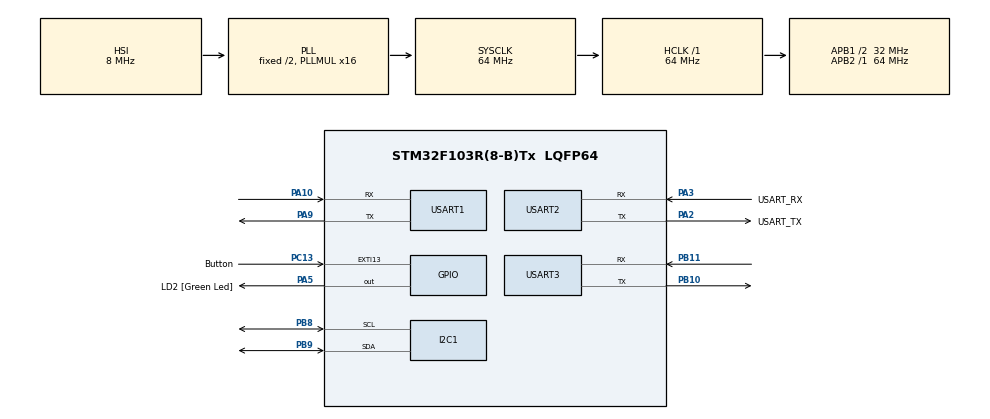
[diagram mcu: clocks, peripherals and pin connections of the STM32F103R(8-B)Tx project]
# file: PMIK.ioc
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Mcu.Family=STM32F1
Mcu.Name=STM32F103R(8-B)Tx
Mcu.Package=LQFP64
NVIC.EXTI15_10_IRQn=true\:0\:0\:false\:false\:true\:true\:true
NVIC.PriorityGroup=NVIC_PRIORITYGROUP_4
NVIC.TIM4_IRQn=true\:0\:0\:false\:false\:true\:true\:true
NVIC.USART1_IRQn=true\:0\:0\:false\:false\:true\:true\:true
NVIC.USART2_IRQn=true\:0\:0\:false\:false\:true\:true\:true
NVIC.USART3_IRQn=true\:0\:0\:false\:false\:true\:true\:true
PA10.Mode=Asynchronous
PA10.Signal=USART1_RX
PA13.GPIO_Label=TMS
PA13.Mode=Serial_Wire
PA13.Signal=SYS_JTMS-SWDIO
PA14.GPIO_Label=TCK
PA14.Mode=Serial_Wire
PA14.Signal=SYS_JTCK-SWCLK
PA2.GPIO_Label=USART_TX
PA2.GPIO_Mode=GPIO_MODE_AF_PP
PA2.GPIO_PuPd=GPIO_NOPULL
PA2.GPIO_Speed=GPIO_SPEED_FREQ_LOW
PA2.Mode=Asynchronous
PA2.Signal=USART2_TX
PA3.GPIO_Label=USART_RX
PA3.GPIO_Mode=GPIO_MODE_AF_PP
PA3.GPIO_PuPd=GPIO_NOPULL
PA3.GPIO_Speed=GPIO_SPEED_FREQ_LOW
PA3.Mode=Asynchronous
PA3.Signal=USART2_RX
PA5.GPIO_Label=LD2 [Green Led]
PA5.GPIO_ModeDefaultOutputPP=GPIO_MODE_OUTPUT_PP
PA5.GPIO_PuPd=GPIO_NOPULL
PA5.GPIO_Speed=GPIO_SPEED_FREQ_LOW
PA5.Signal=GPIO_Output
PA9.Mode=Asynchronous
PA9.Signal=USART1_TX
PB10.Mode=Asynchronous
PB10.Signal=USART3_TX
PB11.Mode=Asynchronous
PB11.Signal=USART3_RX
PB3.GPIO_Label=SWO
PB3.Signal=SYS_JTDO-TRACESWO
PB8.Mode=I2C
PB8.Signal=I2C1_SCL
PB9.Mode=I2C
PB9.Signal=I2C1_SDA
PC13-TAMPER-RTC.GPIO_Label=Button
PC13-TAMPER-RTC.GPIO_ModeDefaultEXTI=GPIO_MODE_IT_FALLING
PC13-TAMPER-RTC.Signal=GPXTI13
PC14-OSC32_IN.Mode=LSE-External-Oscillator
PC14-OSC32_IN.Signal=RCC_OSC32_IN
PC15-OSC32_OUT.Mode=LSE-External-Oscillator
PC15-OSC32_OUT.Signal=RCC_OSC32_OUT
PD0-OSC_IN.Mode=HSE-External-Clock-Source
PD0-OSC_IN.Signal=RCC_OSC_IN
PD1-OSC_OUT.Mode=HSE-External-Clock-Source
PD1-OSC_OUT.Signal=RCC_OSC_OUT
ProjectManager.HeapSize=0x200
ProjectManager.StackSize=0x400
ProjectManager.TargetToolchain=STM32CubeIDE
RCC.AHBFreq_Value=64000000
RCC.APB1CLKDivider=RCC_HCLK_DIV2
RCC.APB1Freq_Value=32000000
RCC.APB1TimFreq_Value=64000000
RCC.APB2Freq_Value=64000000
RCC.APB2TimFreq_Value=64000000
RCC.HCLKFreq_Value=64000000
RCC.PLLMUL=RCC_PLL_MUL16
RCC.RTCClockSelection=RCC_RTCCLKSOURCE_LSE
RCC.SYSCLKFreq_VALUE=64000000
RCC.SYSCLKSource=RCC_SYSCLKSOURCE_PLLCLK
RCC.USBFreq_Value=64000000
TIM4.AutoReloadPreload=TIM_AUTORELOAD_PRELOAD_ENABLE
TIM4.Period=9999 
TIM4.Prescaler=639 
USART1.VirtualMode=VM_ASYNC
USART2.VirtualMode=VM_ASYNC
USART3.VirtualMode=VM_ASYNC
VP_TIM4_VS_ClockSourceINT.Mode=Internal
board=NUCLEO-F103RB

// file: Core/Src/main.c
/* USER CODE BEGIN Header */
/**
  ******************************************************************************
  * @file           : main.c
  * @brief          : Main program body
  ******************************************************************************
  * @attention
  *
  * <h2><center>&copy; Copyright (c) 2020 STMicroelectronics.
  * All rights reserved.</center></h2>
  *
  * This software component is licensed by ST under BSD 3-Clause license,
  * the "License"; You may not use this file except in compliance with the
  * License. You may obtain a copy of the License at:
  *                        opensource.org/licenses/BSD-3-Clause
  *
  ******************************************************************************
  */
/* USER CODE END Header */
#include "main.h"
#include "i2c.h"
#include "tim.h"
#include "usart.h"
#include "gpio.h"

/* USER CODE BEGIN Includes */
#include "ESP8266_HAL.h"
#include "bmp280.h"
#include <string.h>
#include <stdio.h>
#include "lcd_i2c.h"
#include <stdbool.h>
#include "UartRingbuffer_multi.h"
/* USER CODE END Includes */

/* USER CODE BEGIN PV */
extern UART_HandleTypeDef huart3;
#define bmp_uart &huart3

float pressure, temperature, humidity;
bool is_LCD_avaliable = false;
uint16_t size;
uint8_t Data[256];
struct lcd_disp disp;
char output[5] = {'0','0','0','0','0'};
int i = 0;
int x = 0;
/* USER CODE END PV */

void SystemClock_Config(void);

int main(void)
{
  /* USER CODE BEGIN 1 */
	uint8_t buf[12];
  /* USER CODE END 1 */

  /* MCU Configuration--------------------------------------------------------*/

  /* Reset of all peripherals, Initializes the Flash interface and the Systick. */
  HAL_Init();

  /* Configure the system clock */
  SystemClock_Config();

  /* Initialize all configured peripherals */
  MX_GPIO_Init();
  MX_USART2_UART_Init();
  MX_USART1_UART_Init();
  MX_I2C1_Init();
  MX_TIM4_Init();
  MX_USART3_UART_Init();
  /* USER CODE BEGIN 2 */
  HAL_TIM_Base_Start_IT(&htim4);

  ESP_Init("HUAWEI-B315-4735","RE7EF6GRR7L");

    HAL_UART_Transmit(&huart2, Data, size, 1000);

      disp.addr = (0x27 << 1);
      disp.bl = true;
      lcd_init(&disp);
      lcd_prog(&disp);
      char* front = "  ";
      char* addr = getIP();
      char* txtlcd;
      txtlcd = malloc(strlen(front)+1+4);
      strcpy(txtlcd, front);
      strcat(txtlcd, addr);
      sprintf(disp.f_line, txtlcd);
      sprintf(disp.s_line, "Temp.:");
      lcd_display(&disp);

      is_LCD_avaliable = true;
  /* USER CODE END 2 */

  /* Infinite loop */
  while (1)
  {

    /* USER CODE BEGIN 3 */
	  Server_Start();

  }
  /* USER CODE END 3 */
}

void SystemClock_Config(void)
{
  RCC_OscInitTypeDef RCC_OscInitStruct = {0};
  RCC_ClkInitTypeDef RCC_ClkInitStruct = {0};

  /** Initializes the RCC Oscillators according to the specified parameters
  * in the RCC_OscInitTypeDef structure.
  */
  RCC_OscInitStruct.OscillatorType = RCC_OSCILLATORTYPE_HSI;
  RCC_OscInitStruct.HSIState = RCC_HSI_ON;
  RCC_OscInitStruct.HSICalibrationValue = RCC_HSICALIBRATION_DEFAULT;
  RCC_OscInitStruct.PLL.PLLState = RCC_PLL_ON;
  RCC_OscInitStruct.PLL.PLLSource = RCC_PLLSOURCE_HSI_DIV2;
  RCC_OscInitStruct.PLL.PLLMUL = RCC_PLL_MUL16;
  if (HAL_RCC_OscConfig(&RCC_OscInitStruct) != HAL_OK)
  {
    Error_Handler();
  }
  /** Initializes the CPU, AHB and APB buses clocks
  */
  RCC_ClkInitStruct.ClockType = RCC_CLOCKTYPE_HCLK|RCC_CLOCKTYPE_SYSCLK
                              |RCC_CLOCKTYPE_PCLK1|RCC_CLOCKTYPE_PCLK2;
  RCC_ClkInitStruct.SYSCLKSource = RCC_SYSCLKSOURCE_PLLCLK;
  RCC_ClkInitStruct.AHBCLKDivider = RCC_SYSCLK_DIV1;
  RCC_ClkInitStruct.APB1CLKDivider = RCC_HCLK_DIV2;
  RCC_ClkInitStruct.APB2CLKDivider = RCC_HCLK_DIV1;

  if (HAL_RCC_ClockConfig(&RCC_ClkInitStruct, FLASH_LATENCY_2) != HAL_OK)
  {
    Error_Handler();
  }
}

/* USER CODE BEGIN 4 */
void HAL_TIM_PeriodElapsedCallback(TIM_HandleTypeDef *htim){
	if(htim->Instance == TIM4){
		HAL_GPIO_TogglePin(LD2_GPIO_Port, LD2_Pin);
		if(is_LCD_avaliable){
				if(IsDataAvailable(bmp_uart)){
					int data = Uart_read(bmp_uart);
					Uart_write(data,bmp_uart);
					if(x = 10) {
					int j = 0;
					while(getBuffer()->buffer[i]!=';'){
						output[j] = getBuffer()->buffer[i];
						j++;
						if(j>=5) break;
						i++;
						if(i >= 512) i = 0;
					}
					i++;
					x = 0;
					}
					x++;
			}
			sprintf(disp.s_line, "Temp.:%sC", output);
			lcd_display(&disp);
			setOut(output);
		}
	}
}
/* USER CODE END 4 */

void Error_Handler(void)
{
}

/************************ (C) COPYRIGHT STMicroelectronics *****END OF FILE****/
